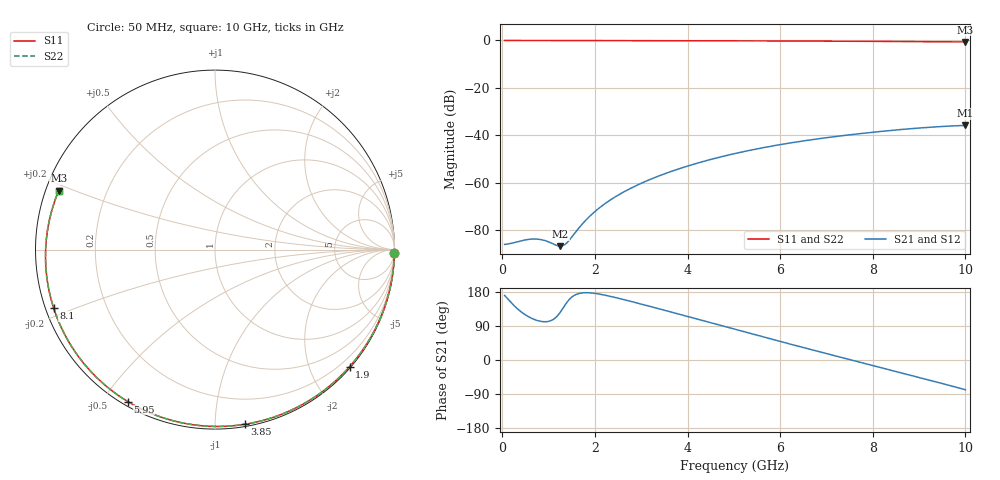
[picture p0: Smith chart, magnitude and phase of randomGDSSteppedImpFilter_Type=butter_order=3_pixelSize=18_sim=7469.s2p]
! freq	dB(S11)	phase(S11)	dB(S12)	phase(S12)
!  dB(S21)	phase(S21)	dB(S22)	phase(S22)
!S-par simulation data
#  GHz  S  DB  R 50
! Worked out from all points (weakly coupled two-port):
!   200 points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, 50 MHz to 10 GHz, reference 50 ohm
!   highest |S21| = -35.77 dB at 10 GHz (marker M1); lowest = -86.7 dB at 1.25 GHz (marker M2)
!   lowest |S11| = -0.6 dB at 10 GHz (marker M3), VSWR 27.90, Z = 1.85 + j9.09 ohm
!   |S11| at or under -10 dB: nowhere
!   |S22| runs from -0.6 to 0.0 dB; largest |S21 - S12| = 0
!   S11 on the Smith chart (normalised r, x): 50 MHz: open; 1.9 GHz: 0.02, -2.68; 3.85 GHz: 0.02, -1.18; 5.95 GHz: 0.02, -0.58; 8.1 GHz: 0.02, -0.17; 10 GHz: 0.04, +0.18
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0.05  -0.00 -1.1  -85.92 170.4  -85.92 170.4  -0.00 -1.1
0.65  -0.01 -14.2  -83.66 109.1  -83.66 109.1  -0.01 -14.2
1.25  -0.03 -27.2  -86.65 125.7  -86.65 125.7  -0.03 -27.2
1.6  -0.04 -34.6  -80.31 173.3  -80.31 173.3  -0.04 -34.6
1.75  -0.05 -37.8  -76.82 177.3  -76.82 177.3  -0.05 -37.8
1.9  -0.05 -41.0  -73.83 177.1  -73.83 177.1  -0.05 -41.0
2.2  -0.06 -47.2  -68.99 171.5  -68.99 171.5  -0.06 -47.2
2.55  -0.07 -54.4  -64.61 161.7  -64.61 161.7  -0.07 -54.4
2.95  -0.08 -62.6  -60.60 149.2  -60.60 149.2  -0.08 -62.6
3.4  -0.09 -71.5  -56.93 134.6  -56.93 134.6  -0.09 -71.6
3.85  -0.11 -80.4  -53.84 119.9  -53.84 119.9  -0.11 -80.4
4.45  -0.13 -91.9  -50.39 100.1  -50.39 100.1  -0.13 -91.9
5.05  -0.16 -103.2  -47.52 80.2  -47.52 80.2  -0.16 -103.2
5.95  -0.21 -119.9  -44.05 50.6  -44.05 50.6  -0.21 -119.9
6.7  -0.26 -133.7  -41.76 26.5  -41.76 26.5  -0.26 -133.7
7.4  -0.32 -146.8  -39.98 4.4  -39.98 4.4  -0.32 -146.8
8.1  -0.39 -160.2  -38.47 -17.5  -38.47 -17.5  -0.39 -160.2
8.35  -0.42 -165.1  -37.98 -25.3  -37.98 -25.3  -0.42 -165.2
8.8  -0.47 -174.2  -37.20 -39.5  -37.20 -39.5  -0.47 -174.3
9.2  -0.52 177.4  -36.61 -52.3  -36.61 -52.3  -0.52 177.3
9.6  -0.57 168.6  -36.12 -65.3  -36.12 -65.3  -0.57 168.5
10  -0.62 159.4  -35.77 -78.4  -35.77 -78.4  -0.62 159.3
